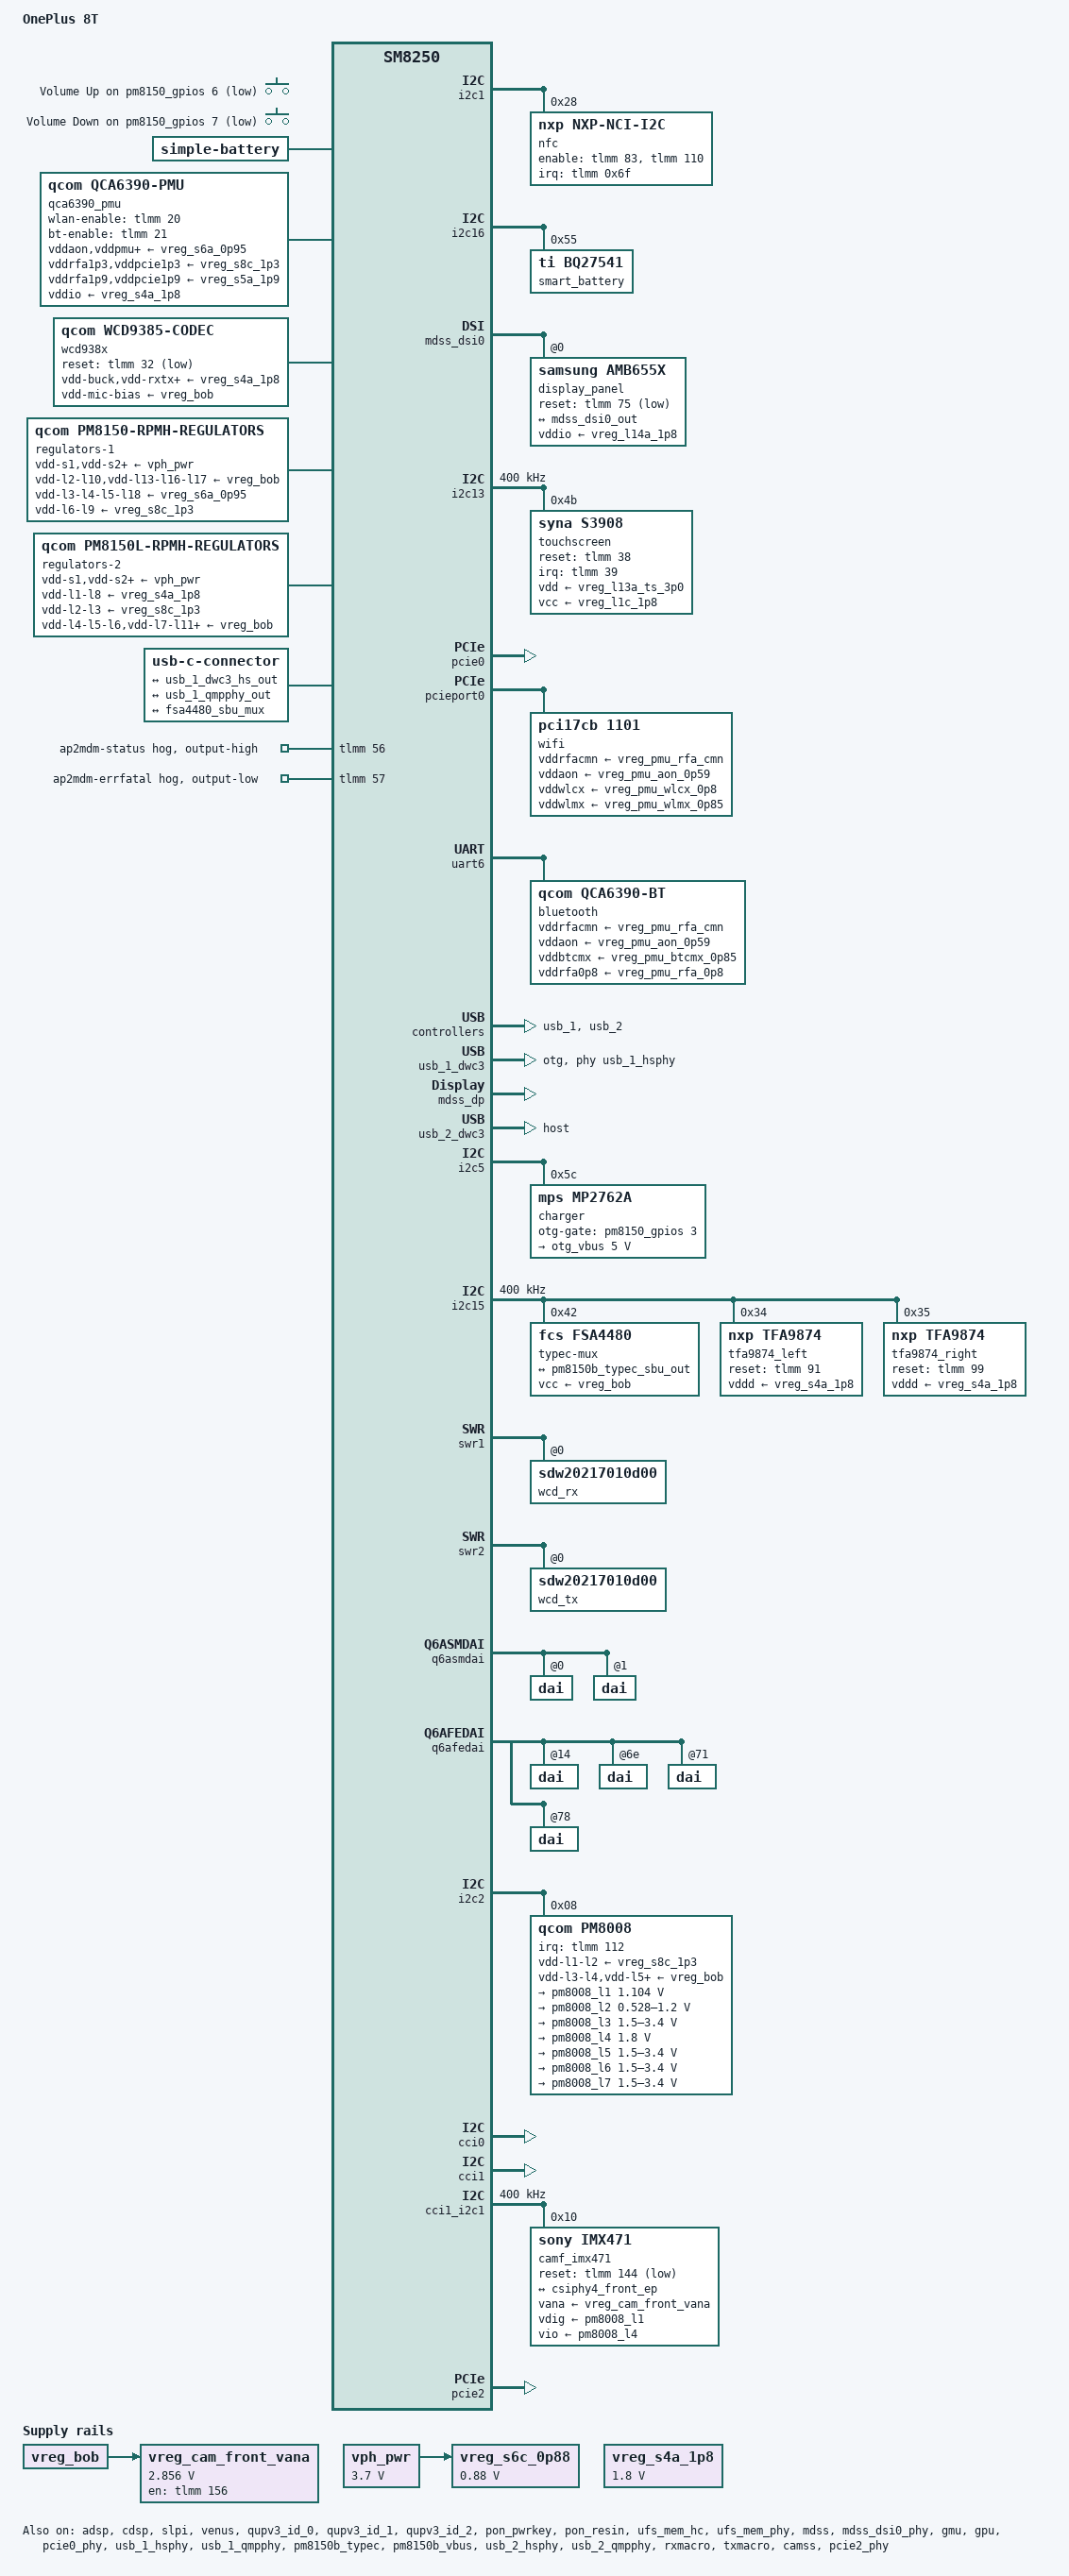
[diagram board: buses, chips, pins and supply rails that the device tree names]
// SPDX-License-Identifier: BSD-3-Clause
/*
 * OnePlus 8T (kebab / KB2003) — SM8250 + discrete SDX55 modem.
 *
 * Consolidated board description. This single file replaces the ~45
 * incremental device-tree patches produced during bring-up; see
 * docs/REFACTOR.md for the patch-to-section mapping and docs/REGRESSIONS.md
 * for what was intentionally dropped and how to put it back.
 *
 * Derived from arch/arm64/boot/dts/qcom/sm8250-oneplus-kebab.dts as shipped
 * in linux-postmarketos-qcom-sm8250 tag sm8250-7.2.0. Run
 * scripts/check-dts-drift.sh after a kernel bump to see what upstream
 * changed underneath this file.
 *
 * Copyright (c) 2022, The Linux Foundation. All rights reserved.
 * Copyright (c) 2024, Frieder Hannenheim
 * Copyright (c) 2026, kebab bring-up
 */

/dts-v1/;

#include <dt-bindings/arm/qcom,ids.h>
#include <dt-bindings/gpio/gpio.h>
#include <dt-bindings/media/video-interfaces.h>
#include <dt-bindings/phy/phy.h>
#include <dt-bindings/regulator/qcom,rpmh-regulator.h>
#include <dt-bindings/sound/qcom,q6afe.h>
#include <dt-bindings/sound/qcom,q6asm.h>
#include <dt-bindings/usb/pd.h>

#include "sm8250.dtsi"
#include "pm8150.dtsi"
#include "pm8150b.dtsi"
#include "pm8150l.dtsi"

/*
 * pm8009.dtsi is deliberately NOT included.
 *
 * The PMIC is declared by the vendor tree but is not populated on this
 * board: every SPMI register read to sid 0xa / 0xb fails with
 * "transaction failed (0x3)", and RPMh cmd-db has no smpf2 resource, so
 * its rpmh-regulator block ("regulators-0", qcom,pmic-id = "f") cannot
 * register either. Nothing on kebab consumes an f-series rail — the
 * QCA6390 PMU was moved onto vreg_s6a_0p95 for exactly this reason.
 *
 * Omitting the include is equivalent to, and cleaner than, instantiating
 * pmic@a / pmic@b and then disabling them.
 */

/*
 * Delete the upstream (sm8250.dtsi) reserved-memory mappings that differ on
 * this device; they are redefined below.
 */
/delete-node/ &removed_mem;
/delete-node/ &camera_mem;
/delete-node/ &wlan_mem;
/delete-node/ &ipa_fw_mem;
/delete-node/ &ipa_gsi_mem;
/delete-node/ &gpu_mem;
/delete-node/ &npu_mem;
/delete-node/ &video_mem;
/delete-node/ &cvp_mem;
/delete-node/ &cdsp_mem;
/delete-node/ &slpi_mem;
/delete-node/ &adsp_mem;
/delete-node/ &spss_mem;
/delete-node/ &cdsp_secure_heap;

/ {
	model = "OnePlus 8T";
	compatible = "oneplus,kebab", "qcom,sm8250";
	chassis-type = "handset";

	qcom,msm-id = <0x164 0x10000>, <0x164 0x20001>;
	qcom,board-id = <0x08 0x00>, <0x00 0x00>;

	aliases {
		serial0 = &uart6;
	};

	chosen {
		#address-cells = <2>;
		#size-cells = <2>;
		ranges;
		stdout-path = "framebuffer0";

		/*
		 * Disabled: msm DRM owns this memory once the real DSI panel
		 * comes up. Leaving simple-framebuffer enabled makes both
		 * drivers claim 0x9c000000 and produces "framebuffer is not in
		 * virtual address space" warnings.
		 */
		framebuffer0: framebuffer@9c000000 {
			compatible = "simple-framebuffer";
			reg = <0x0 0x9c000000 0x0 (1080 * 2376 * 4)>;
			width = <1080>;
			height = <2376>;
			stride = <(1080 * 4)>;
			format = "a8r8g8b8";
			status = "disabled";
		};
	};

	gpio_keys: gpio-keys {
		compatible = "gpio-keys";

		vol-up {
			label = "Volume Up";
			gpios = <&pm8150_gpios 6 GPIO_ACTIVE_LOW>;
			linux,code = <KEY_VOLUMEUP>;
			debounce-interval = <15>;
			linux,can-disable;
			gpio-key,wakeup;
		};

		vol-down {
			label = "Volume Down";
			gpios = <&pm8150_gpios 7 GPIO_ACTIVE_LOW>;
			linux,code = <KEY_VOLUMEDOWN>;
			debounce-interval = <15>;
			linux,can-disable;
			gpio-key,wakeup;
		};
	};

	reserved-memory {
		camera_mem: memory@8dc00000 {
			reg = <0x0 0x8dc00000 0x0 0x500000>;
			no-map;
		};

		wlan_mem: memory@8e100000 {
			reg = <0x0 0x8e100000 0x0 0x100000>;
			no-map;
		};

		ipa_fw_mem: memory@8e200000 {
			reg = <0x0 0x8e200000 0x0 0x10000>;
			no-map;
		};

		ipa_gsi_mem: memory@8e210000 {
			reg = <0x0 0x8e210000 0x0 0xa000>;
			no-map;
		};

		gpu_mem: memory@8e21a000 {
			reg = <0x0 0x8e21a000 0x0 0x2000>;
			no-map;
		};

		npu_mem: memory@8e300000 {
			reg = <0x0 0x8e300000 0x0 0x500000>;
			no-map;
		};

		video_mem: memory@8e800000 {
			reg = <0x0 0x8e800000 0x0 0x500000>;
			no-map;
		};

		cvp_mem: memory@8ed00000 {
			reg = <0x0 0x8ed00000 0x0 0x500000>;
			no-map;
		};

		cdsp_mem: memory@8f200000 {
			reg = <0x0 0x8f200000 0x0 0x1400000>;
			no-map;
		};

		slpi_mem: memory@90600000 {
			reg = <0x0 0x90600000 0x0 0x1500000>;
			no-map;
		};

		adsp_mem: memory@91b00000 {
			reg = <0x00 0x91b00000 0x00 0x2500000>;
			no-map;
		};

		spss_mem: memory@94000000 {
			reg = <0x0 0x94000000 0x0 0x100000>;
			no-map;
		};

		cdsp_secure_heap: memory@94100000 {
			reg = <0x0 0x94100000 0x0 0x4600000>;
			no-map;
		};

		cont_splash_mem: memory@9c000000 {
			reg = <0x0 0x9c000000 0x0 0x2300000>;
			no-map;
		};

		/*
		 * OPTIONAL — development aid, safe to delete.
		 *
		 * pstore/ramoops in a region the bootloader leaves alone, so a
		 * panic or a silent SoC reset survives the reboot and can be
		 * read back from /sys/fs/pstore. ECC is on because this region
		 * is not refresh-protected across the reset.
		 *
		 * Keeping this enabled is a deliberate choice for a board still
		 * under bring-up: several of the changes in this tree were
		 * diagnosed only because the previous boot's log survived.
		 */
		ramoops@b0000000 {
			compatible = "ramoops";
			reg = <0x00 0xb0000000 0x00 0x400000>;
			record-size = <0x40000>;
			console-size = <0x200000>;
			ecc-size = <16>;
			no-map;
		};
	};

	battery: battery {
		compatible = "simple-battery";

		charge-full-design-microamp-hours = <4410000>;
		energy-full-design-microwatt-hours = <17060000>;
		voltage-max-design-microvolt = <4350000>;
	};

	vph_pwr: vph-pwr-regulator {
		compatible = "regulator-fixed";
		regulator-name = "vph_pwr";
		regulator-min-microvolt = <3700000>;
		regulator-max-microvolt = <3700000>;
	};

	vreg_s6c_0p88: smpc6-regulator {
		compatible = "regulator-fixed";
		regulator-name = "vreg_s6c_0p88";
		regulator-min-microvolt = <880000>;
		regulator-max-microvolt = <880000>;
		regulator-always-on;
		vin-supply = <&vph_pwr>;
	};

	vreg_s4a_1p8: vreg-s4a-1p8 {
		compatible = "regulator-fixed";
		regulator-name = "vreg_s4a_1p8";
		regulator-min-microvolt = <1800000>;
		regulator-max-microvolt = <1800000>;
		regulator-always-on;
	};
};

/* ------------------------------------------------------------------------
 * RPMh regulators
 *
 * "regulators-0" (pm8009, qcom,pmic-id "f") is absent — see the note about
 * the pm8009.dtsi include above.
 * ------------------------------------------------------------------------ */

&apps_rsc {
	regulators-1 {
		compatible = "qcom,pm8150-rpmh-regulators";
		qcom,pmic-id = "a";

		vdd-s1-supply = <&vph_pwr>;
		vdd-s2-supply = <&vph_pwr>;
		vdd-s3-supply = <&vph_pwr>;
		vdd-s4-supply = <&vph_pwr>;
		vdd-s5-supply = <&vph_pwr>;
		vdd-s6-supply = <&vph_pwr>;
		vdd-s7-supply = <&vph_pwr>;
		vdd-s8-supply = <&vph_pwr>;
		vdd-s9-supply = <&vph_pwr>;
		vdd-s10-supply = <&vph_pwr>;
		vdd-l2-l10-supply = <&vreg_bob>;
		vdd-l3-l4-l5-l18-supply = <&vreg_s6a_0p95>;
		vdd-l6-l9-supply = <&vreg_s8c_1p3>;
		vdd-l7-l12-l14-l15-supply = <&vreg_s5a_1p9>;
		vdd-l13-l16-l17-supply = <&vreg_bob>;

		vreg_l2a_3p1: ldo2 {
			regulator-name = "vreg_l2a_3p1";
			regulator-min-microvolt = <3072000>;
			regulator-max-microvolt = <3072000>;
			regulator-initial-mode = <RPMH_REGULATOR_MODE_HPM>;
		};

		vreg_l3a_0p9: ldo3 {
			regulator-name = "vreg_l3a_0p9";
			regulator-min-microvolt = <928000>;
			regulator-max-microvolt = <932000>;
			regulator-initial-mode = <RPMH_REGULATOR_MODE_HPM>;
		};

		vreg_l5a_0p88: ldo5 {
			regulator-name = "vreg_l5a_0p88";
			regulator-min-microvolt = <880000>;
			regulator-max-microvolt = <880000>;
			regulator-initial-mode = <RPMH_REGULATOR_MODE_HPM>;
		};

		vreg_l6a_1p2: ldo6 {
			regulator-name = "vreg_l6a_1p2";
			regulator-min-microvolt = <1200000>;
			regulator-max-microvolt = <1200000>;
			regulator-initial-mode = <RPMH_REGULATOR_MODE_HPM>;
		};

		vreg_l7a_1p7: ldo7 {
			regulator-name = "vreg_l7a_1p7";
			regulator-min-microvolt = <1704000>;
			regulator-max-microvolt = <1800000>;
			regulator-initial-mode = <RPMH_REGULATOR_MODE_HPM>;
		};

		vreg_l9a_1p2: ldo9 {
			regulator-name = "vreg_l9a_1p2";
			regulator-min-microvolt = <1200000>;
			regulator-max-microvolt = <1200000>;
			regulator-initial-mode = <RPMH_REGULATOR_MODE_HPM>;
		};

		vreg_l10a_1p8: ldo10 {
			regulator-name = "vreg_l10a_1p8";
			regulator-min-microvolt = <1800000>;
			regulator-max-microvolt = <1800000>;
			regulator-initial-mode = <RPMH_REGULATOR_MODE_HPM>;
		};

		vreg_l12a_1p8: ldo12 {
			regulator-name = "vreg_l12a_1p8";
			regulator-min-microvolt = <1800000>;
			regulator-max-microvolt = <1800000>;
			regulator-initial-mode = <RPMH_REGULATOR_MODE_HPM>;
		};

		vreg_l13a_ts_3p0: ldo13 {
			regulator-name = "vreg_l13a_ts_3p0";
			regulator-min-microvolt = <3008000>;
			regulator-max-microvolt = <3008000>;
			regulator-initial-mode = <RPMH_REGULATOR_MODE_HPM>;
		};

		vreg_l14a_1p8: ldo14 {
			regulator-name = "vreg_l14a_1p8";
			regulator-min-microvolt = <1800000>;
			regulator-max-microvolt = <1880000>;
			regulator-initial-mode = <RPMH_REGULATOR_MODE_HPM>;
		};

		vreg_l15a_1p8: ldo15 {
			regulator-name = "vreg_l15a_1p8";
			regulator-min-microvolt = <1800000>;
			regulator-max-microvolt = <1800000>;
			regulator-initial-mode = <RPMH_REGULATOR_MODE_HPM>;
		};

		vreg_l16a_2p7: ldo16 {
			regulator-name = "vreg_l16a_2p7";
			regulator-min-microvolt = <2704000>;
			regulator-max-microvolt = <2960000>;
			regulator-initial-mode = <RPMH_REGULATOR_MODE_HPM>;
		};

		vreg_l17a_3p0: ldo17 {
			regulator-name = "vreg_l17a_3p0";
			regulator-min-microvolt = <2856000>;
			regulator-max-microvolt = <3008000>;
			regulator-initial-mode = <RPMH_REGULATOR_MODE_HPM>;
		};

		vreg_l18a_0p92: ldo18 {
			regulator-name = "vreg_l18a_0p92";
			regulator-min-microvolt = <800000>;
			regulator-max-microvolt = <912000>;
			regulator-initial-mode = <RPMH_REGULATOR_MODE_HPM>;
		};

		vreg_s5a_1p9: smps5 {
			regulator-name = "vreg_s5a_1p9";
			regulator-min-microvolt = <1904000>;
			regulator-max-microvolt = <2000000>;
			regulator-initial-mode = <RPMH_REGULATOR_MODE_HPM>;
		};

		vreg_s6a_0p95: smps6 {
			regulator-name = "vreg_s6a_0p95";
			regulator-min-microvolt = <920000>;
			regulator-max-microvolt = <1128000>;
			regulator-initial-mode = <RPMH_REGULATOR_MODE_HPM>;
		};
	};

	regulators-2 {
		compatible = "qcom,pm8150l-rpmh-regulators";
		qcom,pmic-id = "c";

		vdd-s1-supply = <&vph_pwr>;
		vdd-s2-supply = <&vph_pwr>;
		vdd-s3-supply = <&vph_pwr>;
		vdd-s4-supply = <&vph_pwr>;
		vdd-s5-supply = <&vph_pwr>;
		vdd-s6-supply = <&vph_pwr>;
		vdd-s7-supply = <&vph_pwr>;
		vdd-s8-supply = <&vph_pwr>;
		vdd-l1-l8-supply = <&vreg_s4a_1p8>;
		vdd-l2-l3-supply = <&vreg_s8c_1p3>;
		vdd-l4-l5-l6-supply = <&vreg_bob>;
		vdd-l7-l11-supply = <&vreg_bob>;
		vdd-l9-l10-supply = <&vreg_bob>;
		vdd-bob-supply = <&vph_pwr>;

		vreg_bob: bob {
			regulator-name = "vreg_bob";
			/*
			 * 3.3 V floor, not the 3008000 the other SM8250 boards
			 * use. BOB feeds the WCD9385 vdd-mic-bias input, and
			 * mainline wcd938x only bulk-enables its supplies —
			 * it never requests a voltage, so BOB parks at this
			 * minimum. The vendor configuration specifies more:
			 * OnePlus's kebab-oem.dtsi sets
			 * qcom,cdc-vdd-mic-bias-voltage = <3300000 3600000>
			 * and Qualcomm's kona-audio-overlay.dtsi uses
			 * <3296000 3296000>. Give the micbias generator the
			 * headroom the analogue mic design assumes.
			 */
			regulator-min-microvolt = <3300000>;
			regulator-max-microvolt = <4000000>;
			regulator-initial-mode = <RPMH_REGULATOR_MODE_AUTO>;
		};

		vreg_l1c_1p8: ldo1 {
			regulator-name = "vreg_l1c_1p8";
			regulator-min-microvolt = <1800000>;
			regulator-max-microvolt = <1800000>;
			regulator-initial-mode = <RPMH_REGULATOR_MODE_HPM>;
		};

		vreg_l2c_1p2: ldo2 {
			regulator-name = "vreg_l2c_1p2";
			regulator-min-microvolt = <1200000>;
			regulator-max-microvolt = <1200000>;
			regulator-initial-mode = <RPMH_REGULATOR_MODE_HPM>;
		};

		vreg_l3c_0p8: ldo3 {
			regulator-name = "vreg_l3c_0p8";
			regulator-min-microvolt = <800000>;
			regulator-max-microvolt = <800000>;
			regulator-initial-mode = <RPMH_REGULATOR_MODE_HPM>;
		};

		vreg_l4c_1p7: ldo4 {
			regulator-name = "vreg_l4c_1p7";
			regulator-min-microvolt = <1704000>;
			regulator-max-microvolt = <2928000>;
			regulator-initial-mode = <RPMH_REGULATOR_MODE_HPM>;
		};

		vreg_l5c_1p8: ldo5 {
			regulator-name = "vreg_l5c_1p8";
			regulator-min-microvolt = <1800000>;
			regulator-max-microvolt = <2928000>;
			regulator-initial-mode = <RPMH_REGULATOR_MODE_HPM>;
		};

		vreg_l6c_2p96: ldo6 {
			regulator-name = "vreg_l6c_2p96";
			regulator-min-microvolt = <1800000>;
			regulator-max-microvolt = <2960000>;
			regulator-initial-mode = <RPMH_REGULATOR_MODE_HPM>;
		};

		vreg_l7c_cam_vcm0_2p85: ldo7 {
			regulator-name = "vreg_l7c_cam_vcm0_2p85";
			regulator-min-microvolt = <2856000>;
			regulator-max-microvolt = <3104000>;
			regulator-initial-mode = <RPMH_REGULATOR_MODE_HPM>;
		};

		vreg_l8c_1p8: ldo8 {
			regulator-name = "vreg_l8c_1p8";
			regulator-min-microvolt = <1800000>;
			regulator-max-microvolt = <1800000>;
			regulator-initial-mode = <RPMH_REGULATOR_MODE_HPM>;
		};

		vreg_l9c_2p96: ldo9 {
			regulator-name = "vreg_l9c_2p96";
			regulator-min-microvolt = <2704000>;
			regulator-max-microvolt = <2960000>;
			regulator-initial-mode = <RPMH_REGULATOR_MODE_HPM>;
		};

		vreg_l10c_3p0: ldo10 {
			regulator-name = "vreg_l10c_3p0";
			regulator-min-microvolt = <3000000>;
			regulator-max-microvolt = <3000000>;
			regulator-initial-mode = <RPMH_REGULATOR_MODE_HPM>;
		};

		vreg_l11c_3p3: ldo11 {
			regulator-name = "vreg_l11c_3p3";
			regulator-min-microvolt = <3296000>;
			regulator-max-microvolt = <3296000>;
			regulator-initial-mode = <RPMH_REGULATOR_MODE_HPM>;
			regulator-always-on;
		};

		vreg_s8c_1p3: smps8 {
			regulator-name = "vreg_s8c_1p3";
			regulator-min-microvolt = <1352000>;
			regulator-max-microvolt = <1352000>;
			regulator-initial-mode = <RPMH_REGULATOR_MODE_HPM>;
		};
	};
};

/* ------------------------------------------------------------------------
 * Core SoC blocks
 * ------------------------------------------------------------------------ */

&adsp {
	firmware-name = "postmarketos/adsp.mbn";
	status = "okay";
};

&cdsp {
	firmware-name = "postmarketos/cdsp.mbn";
	status = "okay";
};

&slpi {
	firmware-name = "postmarketos/slpi.mbn";
	status = "okay";
};

&venus {
	firmware-name = "postmarketos/venus.mbn";
	status = "okay";
};

&gpi_dma0 {
	status = "okay";
};

&gpi_dma1 {
	status = "okay";
};

&gpi_dma2 {
	status = "okay";
};

&qupv3_id_0 {
	status = "okay";
};

&qupv3_id_1 {
	status = "okay";
};

&qupv3_id_2 {
	status = "okay";
};

&qup_spi4_cs_gpio {
	drive-strength = <6>;
	bias-disable;
};

&qup_spi4_data_clk {
	drive-strength = <6>;
	bias-disable;
};

&pon_pwrkey {
	status = "okay";
};

&pon_resin {
	linux,code = <KEY_VOLUMEDOWN>;
	status = "okay";
};

&ufs_mem_hc {
	vcc-supply = <&vreg_l17a_3p0>;
	vcc-max-microamp = <800000>;
	vccq-supply = <&vreg_l6a_1p2>;
	vccq-max-microamp = <800000>;
	vccq2-supply = <&vreg_s4a_1p8>;
	vccq2-max-microamp = <800000>;
	status = "okay";
};

&ufs_mem_phy {
	vdda-phy-supply = <&vreg_l5a_0p88>;
	vdda-pll-supply = <&vreg_l9a_1p2>;
	status = "okay";
};

/* NFC: NXP NCI. Needs pcie1 disabled so GPIO_83 is free — see the PCIe
 * section below. */
&i2c1 {
	status = "okay";

	nfc@28 {
		compatible = "nxp,nxp-nci-i2c";
		reg = <0x28>;

		interrupt-parent = <&tlmm>;
		interrupts = <0x6f IRQ_TYPE_LEVEL_HIGH>;

		enable-gpios = <&tlmm 83 GPIO_ACTIVE_HIGH>,
			       <&tlmm 110 GPIO_ACTIVE_HIGH>;
	};
};

&i2c16 {
	status = "okay";

	smart_battery: fuel-gauge@55 {
		compatible = "ti,bq27541";
		reg = <0x55>;
		monitored-battery = <&battery>;
	};
};

/* ------------------------------------------------------------------------
 * Display — DSI0 + Samsung AMB655X panel, Adreno 650
 *
 * The vendor-derived kebab dts carried "&dispcc { status = "disabled"; }".
 * dispcc is the display clock controller: with it disabled, mdss, the DPU,
 * the DSI controller and the DSI PHY can never resolve their clocks, so
 * none of them probe whatever their own status says. It is simply absent
 * here rather than re-enabled.
 * ------------------------------------------------------------------------ */

&mdss {
	status = "okay";
};

&mdss_dsi0 {
	vdda-supply = <&vreg_l9a_1p2>;
	status = "okay";

	display_panel: panel@0 {
		compatible = "samsung,amb655x";
		reg = <0>;

		vddio-supply = <&vreg_l14a_1p8>;
		reset-gpios = <&tlmm 75 GPIO_ACTIVE_LOW>;

		pinctrl-names = "default";
		pinctrl-0 = <&panel_reset_pins>, <&panel_vsync_pins>,
			    <&panel_vout_pins>;

		ports {
			#address-cells = <1>;
			#size-cells = <0>;

			port@0 {
				reg = <0>;

				panel_in_0: endpoint {
					remote-endpoint = <&mdss_dsi0_out>;
				};
			};
		};
	};
};

&mdss_dsi0_out {
	data-lanes = <0 1 2 3>;
	remote-endpoint = <&panel_in_0>;
};

&mdss_dsi0_phy {
	vdds-supply = <&vreg_l5a_0p88>;
	status = "okay";
};

&gmu {
	status = "okay";
};

/* Without this msm_dpu reports "no GPU device was found" and the desktop
 * falls back to llvmpipe. */
&gpu {
	status = "okay";
};

/* ------------------------------------------------------------------------
 * Touchscreen — Synaptics S3908
 *
 * The node inherited from the OnePlus 8 Pro declares a Samsung s6sy761 at
 * 0x48. The 8T has a Synaptics S3908 at 0x4b on the same bus; the whole
 * i2c13 node is written out here rather than patched, so no phantom client
 * is ever created.
 * ------------------------------------------------------------------------ */

&i2c13 {
	clock-frequency = <400000>;
	status = "okay";

	touchscreen@4b {
		compatible = "syna,s3908";
		reg = <0x4b>;

		interrupt-parent = <&tlmm>;
		interrupts = <39 IRQ_TYPE_LEVEL_LOW>;

		reset-gpios = <&tlmm 38 GPIO_ACTIVE_HIGH>;

		pinctrl-names = "default";
		pinctrl-0 = <&ts_int_active>;

		vdd-supply = <&vreg_l13a_ts_3p0>;
		vcc-supply = <&vreg_l1c_1p8>;
		vdd_volt = <3008000>;

		max-objects = <10>;
	};
};

/* ------------------------------------------------------------------------
 * Wi-Fi / Bluetooth — Qualcomm QCA6390 on PCIe0 + UART6
 *
 * The vendor-derived tree declared a "qcom,qca6390" node with
 * #power-domain-cells and had pcie0_phy and the bluetooth node consume it
 * as a power domain. No mainline driver binds that compatible, so the PHY
 * timed out (-110) and pcie0 never probed.
 *
 * Mainline drives this chip through drivers/power/sequencing/
 * pwrseq-qcom-wcn.c matching "qcom,qca6390-pmu". The PMU exposes ten named
 * regulators; the WLAN endpoint under the PCIe root port and the Bluetooth
 * serdev node consume those directly.
 *
 * NOTE ON THE BLUETOOTH ADDRESS. htnv20.bin ships the placeholder
 * 00:00:00:00:5A:AD, so hci0 comes up HCI_UNCONFIGURED ("DOWN RAW",
 * "Can't init device hci0: Not supported (95)"). This is deliberately NOT
 * papered over with a hard-coded local-bd-address here: one constant
 * baked into the devicetree is the same address on every kebab. The
 * address is assigned per device at boot from /etc/machine-id by
 * kebab-bluetooth-addr.service (see device/oneplus-kebab/). If that path
 * ever fails, docs/REGRESSIONS.md item BT-1 has the devicetree fallback.
 * ------------------------------------------------------------------------ */

/ {
	qca6390_pmu: qca6390-pmu {
		compatible = "qcom,qca6390-pmu";

		pinctrl-names = "default";
		pinctrl-0 = <&bt_en_active>, <&wlan_en_active>;

		vddaon-supply = <&vreg_s6a_0p95>;
		vddpmu-supply = <&vreg_s6a_0p95>;
		vddrfa0p95-supply = <&vreg_s6a_0p95>;
		vddrfa1p3-supply = <&vreg_s8c_1p3>;
		vddrfa1p9-supply = <&vreg_s5a_1p9>;
		vddpcie1p3-supply = <&vreg_s8c_1p3>;
		vddpcie1p9-supply = <&vreg_s5a_1p9>;
		vddio-supply = <&vreg_s4a_1p8>;

		wlan-enable-gpios = <&tlmm 20 GPIO_ACTIVE_HIGH>;
		bt-enable-gpios = <&tlmm 21 GPIO_ACTIVE_HIGH>;

		regulators {
			vreg_pmu_rfa_cmn: ldo0 {
				regulator-name = "vreg_pmu_rfa_cmn";
			};

			vreg_pmu_aon_0p59: ldo1 {
				regulator-name = "vreg_pmu_aon_0p59";
			};

			vreg_pmu_wlcx_0p8: ldo2 {
				regulator-name = "vreg_pmu_wlcx_0p8";
			};

			vreg_pmu_wlmx_0p85: ldo3 {
				regulator-name = "vreg_pmu_wlmx_0p85";
			};

			vreg_pmu_btcmx_0p85: ldo4 {
				regulator-name = "vreg_pmu_btcmx_0p85";
			};

			vreg_pmu_rfa_0p8: ldo5 {
				regulator-name = "vreg_pmu_rfa_0p8";
			};

			vreg_pmu_rfa_1p2: ldo6 {
				regulator-name = "vreg_pmu_rfa_1p2";
			};

			vreg_pmu_rfa_1p7: ldo7 {
				regulator-name = "vreg_pmu_rfa_1p7";
			};

			vreg_pmu_pcie_0p9: ldo8 {
				regulator-name = "vreg_pmu_pcie_0p9";
			};

			vreg_pmu_pcie_1p8: ldo9 {
				regulator-name = "vreg_pmu_pcie_1p8";
			};
		};
	};
};

&pcie0 {
	status = "okay";
};

&pcie0_phy {
	vdda-phy-supply = <&vreg_l5a_0p88>;
	vdda-pll-supply = <&vreg_l9a_1p2>;
	status = "okay";
};

&pcieport0 {
	wifi@0 {
		compatible = "pci17cb,1101";
		reg = <0x10000 0x0 0x0 0x0 0x0>;

		vddrfacmn-supply = <&vreg_pmu_rfa_cmn>;
		vddaon-supply = <&vreg_pmu_aon_0p59>;
		vddwlcx-supply = <&vreg_pmu_wlcx_0p8>;
		vddwlmx-supply = <&vreg_pmu_wlmx_0p85>;
		vddrfa0p8-supply = <&vreg_pmu_rfa_0p8>;
		vddrfa1p2-supply = <&vreg_pmu_rfa_1p2>;
		vddrfa1p7-supply = <&vreg_pmu_rfa_1p7>;
		vddpcie0p9-supply = <&vreg_pmu_pcie_0p9>;
		vddpcie1p8-supply = <&vreg_pmu_pcie_1p8>;
	};
};

&uart6 {
	status = "okay";

	bluetooth {
		compatible = "qcom,qca6390-bt";

		vddrfacmn-supply = <&vreg_pmu_rfa_cmn>;
		vddaon-supply = <&vreg_pmu_aon_0p59>;
		vddbtcmx-supply = <&vreg_pmu_btcmx_0p85>;
		vddrfa0p8-supply = <&vreg_pmu_rfa_0p8>;
		vddrfa1p2-supply = <&vreg_pmu_rfa_1p2>;
		vddrfa1p7-supply = <&vreg_pmu_rfa_1p7>;
	};
};

/*
 * pcie1 has no endpoint on this board — it reports "Device not found" —
 * but its pinctrl claims GPIO_83, which the NFC controller needs for its
 * enable line:
 *
 *   sm8250-pinctrl f100000.pinctrl: pin GPIO_83 already requested by
 *       1c08000.pcie; cannot claim for f100000.pinctrl:629
 *   nxp-nci_i2c 1-0028: NFC: Failed to get EN gpio
 */
&pcie1 {
	status = "disabled";
};

&pcie1_phy {
	status = "disabled";
};

/* ------------------------------------------------------------------------
 * USB-C — dual-role USB 3.1, DisplayPort altmode, VBUS source
 *
 * DP and Type-C have to land together. The msm DP driver resolves its
 * downstream bridge with devm_drm_of_get_bridge() on port@1, and the chain
 * is
 *
 *   mdss_dp -> usb_1_qmpphy        (phy-qcom-qmp-combo registers a
 *                                   *passthrough* aux bridge, which itself
 *                                   requires a downstream bridge)
 *           -> pm8150b_typec connector
 *                                  (qcom_pmic_typec adds the HPD bridge
 *                                   that TERMINATES the chain)
 *
 * With no Type-C connector node nothing terminates the chain, the aux
 * bridge fails -ENODEV, mdss_dp defers forever, and because mdss_dp is an
 * msm-drm component the whole display — DSI panel included — never binds.
 *
 * The FSA4480 SBU/orientation switch is on &i2c15 (0x884000), not &i2c1
 * (0x984000, the NFC bus). The stock OxygenOS tree says
 * "fsa4480 = /soc/i2c@884000/fsa4480@42" and
 * sm8250-xiaomi-pipa-common.dtsi independently agrees. On the wrong bus it
 * never probes, typec_mux_get()/typec_switch_get() defer forever, and the
 * display goes down with DP.
 * ------------------------------------------------------------------------ */

&usb_1 {
	/* USB 2.0 + 3.0. qcom,select-utmi-as-pipe-clk is deliberately absent:
	 * the pipe clock is parented to the QMP combo PHY, which is up. */
	status = "okay";
};

&usb_1_dwc3 {
	/*
	 * OTG is required, not optional: dp_altmode_probe() rejects anything
	 * but TYPEC_HOST. Pin assignment D carries 2 DP lanes + USB3 at the
	 * same time; never force pin assignment C, which takes a dock's USB3
	 * lanes away.
	 */
	dr_mode = "otg";
	usb-role-switch;
	phys = <&usb_1_hsphy>, <&usb_1_qmpphy QMP_USB43DP_USB3_PHY>;
	phy-names = "usb2-phy", "usb3-phy";
};

&usb_1_dwc3_hs_out {
	remote-endpoint = <&pm8150b_hs_in>;
};

&usb_1_hsphy {
	vdda-pll-supply = <&vreg_l5a_0p88>;
	vdda18-supply = <&vreg_l12a_1p8>;
	vdda33-supply = <&vreg_l2a_3p1>;
	status = "okay";
};

&usb_1_qmpphy {
	vdda-phy-supply = <&vreg_l9a_1p2>;
	vdda-pll-supply = <&vreg_l18a_0p92>;
	status = "okay";
};

&usb_1_qmpphy_out {
	remote-endpoint = <&pm8150b_typec_mux_in>;
};

&usb_1_qmpphy_dp_in {
	remote-endpoint = <&mdss_dp_out>;
};

&mdss_dp {
	status = "okay";
};

&mdss_dp_out {
	/*
	 * Four lanes. DP altmode negotiates pin assignment C with 4-lane
	 * adapters and D with docks; dwc3 gives up the SuperSpeed lanes in
	 * the former case. With data-lanes = <0 1> the controller trains only
	 * two lanes — ~8.6 Gbps after 8b/10b at HBR2 — which cannot carry
	 * 3840x2160@60 (~12.5 Gbps at 24 bpp): link training succeeds and the
	 * monitor shows a black screen.
	 */
	data-lanes = <0 1 2 3>;
	remote-endpoint = <&usb_1_qmpphy_dp_in>;
};

&pm8150b_typec {
	status = "okay";

	vdd-pdphy-supply = <&vreg_l2a_3p1>;

	/*
	 * VBUS comes from the MP2762A, not the pm8150b boost. kebab is a 2S
	 * device (battery 8.6 V) and the pm8150b OTG boost exists to lift a
	 * 1S cell to 5 V, so it can never source this port — every attach
	 * logged "vbus vsafe5v fail". The MP2762A path was verified on
	 * hardware: vSafe5V held for 60 s with otg_fail=0 / oc_hiccup=0 and a
	 * bus-powered keyboard enumerated as HID.
	 */
	vdd-vbus-supply = <&otg_vbus>;

	connector {
		compatible = "usb-c-connector";

		op-sink-microwatt = <10000000>;
		power-role = "dual";
		data-role = "dual";
		try-power-role = "sink";
		self-powered;

		/*
		 * 1.5 A source, matching the MP2762A OTG current limit (see
		 * otg_vbus below and stock op_mp2650.c). Advertising 3 A that
		 * the boost cannot deliver browns the rail out on a sink that
		 * takes us at our word. Raise the regulator's
		 * regulator-max-microamp and this PDO together, never one
		 * alone.
		 */
		source-pdos = <PDO_FIXED(5000, 1500,
				PDO_FIXED_DUAL_ROLE |
				PDO_FIXED_USB_COMM |
				PDO_FIXED_DATA_SWAP)>;

		sink-pdos = <PDO_FIXED(5000, 3000,
				PDO_FIXED_DUAL_ROLE |
				PDO_FIXED_USB_COMM |
				PDO_FIXED_DATA_SWAP)>;

		altmodes {
			displayport {
				svid = /bits/ 16 <0xff01>;
				vdo = <0x00001c46>;
			};
		};

		ports {
			#address-cells = <1>;
			#size-cells = <0>;

			port@0 {
				reg = <0>;

				pm8150b_hs_in: endpoint {
					remote-endpoint = <&usb_1_dwc3_hs_out>;
				};
			};

			port@1 {
				reg = <1>;

				pm8150b_typec_mux_in: endpoint {
					remote-endpoint = <&usb_1_qmpphy_out>;
				};
			};

			port@2 {
				reg = <2>;

				pm8150b_typec_sbu_out: endpoint {
					remote-endpoint = <&fsa4480_sbu_mux>;
				};
			};
		};
	};
};

/*
 * Left enabled but unused: pm8150b_vbus is not wired as anyone's
 * vbus-supply (see vdd-vbus-supply above). Keeping the node enabled makes
 * reverting to it a one-line change if the MP2762A path ever regresses.
 */
&pm8150b_vbus {
	regulator-min-microamp = <500000>;
	regulator-max-microamp = <3000000>;
	status = "okay";
};

&usb_2 {
	status = "okay";
};

&usb_2_dwc3 {
	dr_mode = "host";
};

&usb_2_hsphy {
	vdda-pll-supply = <&vreg_l5a_0p88>;
	vdda33-supply = <&vreg_l2a_3p1>;
	vdda18-supply = <&vreg_l12a_1p8>;
	status = "okay";
};

&usb_2_qmpphy {
	vdda-phy-supply = <&vreg_l9a_1p2>;
	vdda-pll-supply = <&vreg_l18a_0p92>;
	status = "okay";
};

/* ------------------------------------------------------------------------
 * Charging — MP2762A OTG boost
 *
 * ti,bq25980 came in when the kebab dts was copied from the OnePlus 8 Pro.
 * It never initialises ("Cannot initialize the chip") and is not present
 * here; battery reporting comes from the bq27541 fuel gauge on i2c16.
 * ------------------------------------------------------------------------ */

&i2c5 {
	status = "okay";

	charger@5c {
		compatible = "mps,mp2762a";
		reg = <0x5c>;

		/*
		 * PM8150 GPIO3 gates the boost output. No pinctrl state: the
		 * "normal"/power-source=1 state tried during bring-up was
		 * rejected by the pm8150 pinctrl driver and gpiod drives the
		 * pin correctly without it.
		 */
		otg-gate-gpios = <&pm8150_gpios 3 GPIO_ACTIVE_HIGH>;

		otg_vbus: otg-vbus {
			regulator-name = "otg-vbus";
			regulator-min-microvolt = <5000000>;
			regulator-max-microvolt = <5000000>;

			/*
			 * OTG boost current limit, programmed into REG07[3:0]
			 * in 250 mA steps. 1.5 A matches stock op_mp2650.c and
			 * the source PDO advertised above.
			 */
			regulator-min-microamp = <1500000>;
			regulator-max-microamp = <1500000>;

			/*
			 * The boost is slow: vSafe5V was measured arriving
			 * between 550 ms and ~1.1 s after REG08[5] is written,
			 * well outside the Type-C tSrcTurnOn budget of 275 ms.
			 * Telling the regulator core how long this rail takes
			 * makes regulator_enable() return only once VBUS is
			 * really up, so the generic Type-C port driver's
			 * 250 ms vSafe5V poll succeeds on the first attach
			 * instead of warning and relying on TCPM's retry.
			 *
			 * An earlier attempt used 300 ms here, which is below
			 * the measured range and did not help; that is why a
			 * driver-side timeout bump looked necessary at the
			 * time. See docs/REGRESSIONS.md, item USB-1.
			 */
			regulator-enable-ramp-delay = <1200000>;
		};
	};
};

&i2c15 {
	clock-frequency = <400000>;
	status = "okay";

	/* SBU / orientation switch, also used for analogue USB-C audio */
	typec-mux@42 {
		compatible = "fcs,fsa4480";
		reg = <0x42>;

		vcc-supply = <&vreg_bob>;
		mode-switch;
		orientation-switch;

		port {
			fsa4480_sbu_mux: endpoint {
				remote-endpoint = <&pm8150b_typec_sbu_out>;
			};
		};
	};
};

/* ------------------------------------------------------------------------
 * Audio
 *
 *   WCD9385 codec              SoundWire (swr1 RX / swr2 TX)
 *   2x NXP TFA9874 speaker amp tertiary MI2S, TLMM gpio133/135/137
 *   3x digital microphone      LPI gpio6..9, via the VA macro
 *
 * sm8250-mtp.dts is not a usable reference for this: it declares no
 * &q6asmdai or &q6afedai children, so a card built from it fails with
 * "MultiMedia1: error getting cpu dai name".
 * ------------------------------------------------------------------------ */

/ {
	wcd938x: audio-codec {
		compatible = "qcom,wcd9385-codec";

		/* Stock OxygenOS wcd938x_reset_active drives gpio32. */
		reset-gpios = <&tlmm 32 GPIO_ACTIVE_LOW>;

		vdd-buck-supply = <&vreg_s4a_1p8>;
		vdd-rxtx-supply = <&vreg_s4a_1p8>;
		vdd-io-supply = <&vreg_s4a_1p8>;
		vdd-mic-bias-supply = <&vreg_bob>;

		qcom,micbias1-microvolt = <1800000>;
		qcom,micbias2-microvolt = <1800000>;
		qcom,micbias3-microvolt = <1800000>;
		qcom,micbias4-microvolt = <1800000>;

		qcom,mbhc-buttons-vthreshold-microvolt = <75000 150000 237000
							 500000 500000 500000
							 500000 500000>;
		qcom,mbhc-headset-vthreshold-microvolt = <1700000>;
		qcom,mbhc-headphone-vthreshold-microvolt = <50000>;

		qcom,rx-device = <&wcd_rx>;
		qcom,tx-device = <&wcd_tx>;

		#sound-dai-cells = <1>;
	};
};

/*
 * The two speaker amplifiers share the USB-C mux's i2c bus (i2c15), which
 * is brought up in the USB-C section above.
 */
&i2c15 {
	/*
	 * NXP TFA9874 smart speaker amplifiers (TFA2 family), left and right.
	 * Verified against the stock OxygenOS DTB: this bus, 0x34 and 0x35,
	 * reset on tlmm 91 / 99 active-high, both fed from pm8150_s4 (1.8 V,
	 * vreg_s4a_1p8 here). The stock nodes carry reset-gpio only, so there
	 * are no shutdown GPIOs to model.
	 */
	tfa9874_left: speaker-amp@34 {
		compatible = "nxp,tfa9874";
		reg = <0x34>;

		vddd-supply = <&vreg_s4a_1p8>;
		reset-gpios = <&tlmm 91 GPIO_ACTIVE_HIGH>;

		nxp,tfa-channel = <0>;

		/*
		 * Both amps are separate ASoC components on one card, and
		 * the driver's DAPM widgets are named per-instance
		 * ("POWER", "SBSL", "OUT"). Without a prefix the two sets
		 * collide, snd_soc_dapm_add_route() cannot tell them apart
		 * ("sink widget OUT overwritten"), and the second amp's
		 * supply widget lands outside any powered path -- it never
		 * leaves power-down, so only one transducer plays.
		 */
		sound-name-prefix = "Left";

		#sound-dai-cells = <0>;
	};

	tfa9874_right: speaker-amp@35 {
		compatible = "nxp,tfa9874";
		reg = <0x35>;

		vddd-supply = <&vreg_s4a_1p8>;
		reset-gpios = <&tlmm 99 GPIO_ACTIVE_HIGH>;

		nxp,tfa-channel = <1>;

		/* See the prefix comment on the left amp above. */
		sound-name-prefix = "Right";

		#sound-dai-cells = <0>;
	};
};

&swr1 {
	status = "okay";

	wcd_rx: wcd9385-rx@0,4 {
		compatible = "sdw20217010d00";
		reg = <0 4>;
		qcom,rx-port-mapping = <1 2 3 4 5>;
	};
};

&swr2 {
	status = "okay";

	wcd_tx: wcd9385-tx@0,3 {
		compatible = "sdw20217010d00";
		reg = <0 3>;
		qcom,tx-port-mapping = <2 3 4 5>;
	};
};

&rxmacro {
	status = "okay";
};

&txmacro {
	status = "okay";
};

/*
 * VA macro drives the digital microphones. kebab's handset mic is a DMIC on
 * the LPI pins, not an analogue capsule on AMIC1: stock mixer_paths.xml maps
 * "handset-mic" to "dmic2", i.e. TX DMIC MUX2 = DMIC1 on TX_CDC_DMA_TX_3.
 *
 * The DMIC pin states live here and NOT on txmacro: txmacro already owns
 * gpio0-2 through tx_swr_active, and a second consumer claiming gpio6/gpio7
 * there risks -EBUSY at probe, which would take the SoundWire TX bus and the
 * speaker path down with it.
 */
&vamacro {
	pinctrl-names = "default";
	pinctrl-0 = <&dmic01_active>, <&dmic23_active>;
	vdd-micb-supply = <&vreg_s4a_1p8>;
	/*
	 * 2.4 MHz. The driver derives the divider as VA_MACRO_MCLK_FREQ
	 * (9.6 MHz) / rate, so 600 kHz — the value some other SM8250 boards
	 * use — is DIV_16 and only 12.5x oversampling at 48 kHz. That leaves
	 * un-decimated sigma-delta noise in the audio band: measured as a
	 * floor rising from -120 dBFS at 1 kHz to -88 dBFS at 16 kHz, with a
	 * broadband floor of -48 dBFS at unity gain. 2.4 MHz is DIV_4, 50x
	 * oversampling, and matches stock's qcom,tx-dmic-sample-rate in
	 * kona-audio-overlay.dtsi.
	 */
	qcom,dmic-sample-rate = <2400000>;
};

&sound {
	compatible = "qcom,sm8250-sndcard";
	model = "OnePlus 8T";

	/* Tertiary MI2S pads carry the two TFA9874 amps. Without this the
	 * pins never leave their default function, no BCLK/WS reaches the
	 * amps, and they sit at CLKS=0 forever even though DAPM powers them
	 * (PWDN 1->0, AMPE 0->1 confirmed over i2c). Same attachment point as
	 * qrb5165-rb5, the upstream sm8250 board that drives TERTIARY_MI2S_RX. */
	pinctrl-names = "default";
	pinctrl-0 = <&tert_mi2s_active>;

	audio-routing =
		"IN1_HPHL", "HPHL_OUT",
		"IN2_HPHR", "HPHR_OUT",
		"AMIC1", "MIC BIAS1",
		"AMIC2", "MIC BIAS2",
		"AMIC3", "MIC BIAS3",
		"AMIC4", "MIC BIAS3",
		"AMIC5", "MIC BIAS4",
		"TX SWR_ADC0", "ADC1_OUTPUT",
		"TX SWR_ADC1", "ADC2_OUTPUT",
		"TX SWR_ADC2", "ADC3_OUTPUT",
		"TX SWR_ADC3", "ADC4_OUTPUT",
		"VA DMIC0", "MIC BIAS1",
		"VA DMIC1", "MIC BIAS1";

	mm1-dai-link {
		link-name = "MultiMedia1";

		cpu {
			sound-dai = <&q6asmdai MSM_FRONTEND_DAI_MULTIMEDIA1>;
		};
	};

	mm2-dai-link {
		link-name = "MultiMedia2";

		cpu {
			sound-dai = <&q6asmdai MSM_FRONTEND_DAI_MULTIMEDIA2>;
		};
	};

	wcd-playback-dai-link {
		link-name = "WCD Playback";

		cpu {
			sound-dai = <&q6afedai RX_CODEC_DMA_RX_0>;
		};

		platform {
			sound-dai = <&q6routing>;
		};

		codec {
			sound-dai = <&wcd938x 0>, <&swr1 0>, <&rxmacro 0>;
		};
	};

	wcd-capture-dai-link {
		link-name = "WCD Capture";

		cpu {
			sound-dai = <&q6afedai TX_CODEC_DMA_TX_3>;
		};

		platform {
			sound-dai = <&q6routing>;
		};

		codec {
			sound-dai = <&wcd938x 1>, <&swr2 0>, <&txmacro 0>;
		};
	};

	va-dai-link {
		link-name = "VA Capture";

		cpu {
			sound-dai = <&q6afedai VA_CODEC_DMA_TX_0>;
		};

		platform {
			sound-dai = <&q6routing>;
		};

		codec {
			sound-dai = <&vamacro 0>;
		};
	};

	/*
	 * Tertiary MI2S carries both TFA9874 amps. They sit on the same frame
	 * and each picks its own channel, so this is one multi-codec link
	 * rather than two links.
	 *
	 * Deliberately no card-level audio-routing entry for the speakers:
	 * the speaker DAPM path lives inside the codec driver, and a wrong
	 * card-level route name fails the whole card's probe, which would
	 * take working headphone audio down with it.
	 */
	tert-mi2s-dai-link {
		link-name = "Tertiary MI2S Playback";

		cpu {
			sound-dai = <&q6afedai TERTIARY_MI2S_RX>;
		};

		platform {
			sound-dai = <&q6routing>;
		};

		codec {
			sound-dai = <&tfa9874_left>, <&tfa9874_right>;
		};
	};
};

/*
 * q6asmdai and q6afedai in sm8250.dtsi are empty containers. Their drivers
 * register DAIs by walking child nodes, so every DAI the card references has
 * to be declared. The unit addresses are the numeric DAI ids from
 * dt-bindings/sound/qcom,q6asm.h and qcom,q6afe.h.
 */
&q6asmdai {
	dai@0 {
		reg = <MSM_FRONTEND_DAI_MULTIMEDIA1>;
	};

	dai@1 {
		reg = <MSM_FRONTEND_DAI_MULTIMEDIA2>;
	};
};

&q6afedai {
	/* TERTIARY_MI2S_RX = 20. Stock kebab-oem.dtsi sets
	 * qcom,msm-mi2s-rx-lines = <2>, i.e. MSM_MI2S_SD1, so playback to the
	 * amps leaves on SD1 (gpio137) — not SD0 (gpio134), which is the
	 * amps' VI-sense return and unused on this DSP-bypass path. */
	dai@14 {
		reg = <TERTIARY_MI2S_RX>;
		qcom,sd-lines = <1>;
	};

	dai@6e {
		reg = <VA_CODEC_DMA_TX_0>;
	};

	dai@71 {
		reg = <RX_CODEC_DMA_RX_0>;
	};

	dai@78 {
		reg = <TX_CODEC_DMA_TX_3>;
	};
};

/*
 * kebab is a 3-mic phone, so the DMIC2/DMIC3 pair needs its pins muxed too.
 * sm8250.dtsi only defines dmic01-active-state, so this mirrors it for
 * gpio8 / gpio9. Per pinctrl-sm8250-lpass-lpi.c dmic2_clk is gpio8 and
 * dmic2_data is gpio9; their only alternate function is i2s1_data, which
 * nothing on this board uses (the TFA amps are on tertiary MI2S, TLMM
 * gpio133-137, not LPI), so there is no mux conflict.
 */
&lpass_tlmm {
	dmic23_active: dmic23-active-state {
		clk-pins {
			pins = "gpio8";
			function = "dmic2_clk";
			drive-strength = <8>;
			output-high;
		};

		data-pins {
			pins = "gpio9";
			function = "dmic2_data";
			drive-strength = <8>;
		};
	};
};

/* ------------------------------------------------------------------------
 * Camera — PM8008 camera PMIC, CAMSS, front IMX471
 *
 * Six independent problems were stacked here during bring-up and several of
 * them corrupted the evidence for the others. The comments below record the
 * ground truth for each, because every one of them is the kind of thing that
 * looks like a dead sensor.
 *
 * Sensor map recovered from the vendor tree (only the front camera has a
 * mainline driver today):
 *
 *   IMX586   wide/main   CCI0 master 0   CSIPHY 0
 *   IMX481   ultrawide   CCI0 master 1   CSIPHY 1
 *   GC02M1B  mono        CCI0 master 1   CSIPHY 2
 *   GC5035   macro       CCI1 master 0   CSIPHY 3
 *   IMX471   front       CCI1 master 1   CSIPHY 4
 * ------------------------------------------------------------------------ */

&i2c2 {
	status = "okay";

	pm8008: pmic@8 {
		compatible = "qcom,pm8008";
		reg = <0x8>;

		interrupt-parent = <&tlmm>;
		interrupts = <112 IRQ_TYPE_EDGE_RISING>;

		pinctrl-names = "default";
		pinctrl-0 = <&pm8008_active>, <&pm8008_interrupt>;

		vdd-l1-l2-supply = <&vreg_s8c_1p3>;
		vdd-l3-l4-supply = <&vreg_bob>;
		vdd-l5-supply = <&vreg_bob>;
		vdd-l6-supply = <&vreg_bob>;
		vdd-l7-supply = <&vreg_bob>;

		gpio-controller;
		#gpio-cells = <2>;
		gpio-ranges = <&pm8008 0 0 2>;

		interrupt-controller;
		#interrupt-cells = <2>;

		#thermal-sensor-cells = <0>;

		regulators {
			pm8008_l1: ldo1 {
				regulator-name = "pm8008_l1";
				/*
				 * cam_vdig. The vendor tree gives this rail as
				 * a single point, rgltr-min == rgltr-max ==
				 * 1100000 uV, not a range.
				 *
				 * 1100000 is NOT settable: the pm8008 LDO
				 * steps in 8 mV, so the core rounds min up to
				 * 1104000 and max down to 1096000, gets
				 * min > max and refuses:
				 *   pm8008_l1: unsupportable voltage
				 *              constraints 1104000-1096000uV
				 *   qcom-pm8008-regulator: failed to register
				 *              regulator ldo1: -22
				 * ldo1 failing aborts the whole driver probe,
				 * so L1 AND L4 both vanish — taking cam_vio
				 * down with cam_vdig and unpowering the entire
				 * camera bus, EEPROMs included. Use the
				 * nearest representable step.
				 */
				regulator-min-microvolt = <1104000>;
				regulator-max-microvolt = <1104000>;
			};

			pm8008_l2: ldo2 {
				regulator-name = "pm8008_l2";
				regulator-min-microvolt = <528000>;
				regulator-max-microvolt = <1200000>;
			};

			pm8008_l3: ldo3 {
				regulator-name = "pm8008_l3";
				regulator-min-microvolt = <1500000>;
				regulator-max-microvolt = <3400000>;
			};

			pm8008_l4: ldo4 {
				regulator-name = "pm8008_l4";
				/* cam_vio, nominally shared with the rear
				 * sensors. Not always-on: the imx471 driver
				 * owns it through vio-supply and sequences it. */
				regulator-min-microvolt = <1800000>;
				regulator-max-microvolt = <1800000>;
			};

			pm8008_l5: ldo5 {
				regulator-name = "pm8008_l5";
				regulator-min-microvolt = <1500000>;
				regulator-max-microvolt = <3400000>;
			};

			pm8008_l6: ldo6 {
				regulator-name = "pm8008_l6";
				regulator-min-microvolt = <1500000>;
				regulator-max-microvolt = <3400000>;
			};

			pm8008_l7: ldo7 {
				regulator-name = "pm8008_l7";
				regulator-min-microvolt = <1500000>;
				regulator-max-microvolt = <3400000>;
			};
		};
	};
};

/ {
	/*
	 * Front camera VANA load switch. The vendor overlay gates VANA through
	 * a dedicated GPIO ("CAM_front_VANA", raw pin 0x9c = 156) in addition
	 * to the shared vreg_bob rail, so it is modelled as a fixed regulator
	 * and the imx471 driver's own "vana" supply toggles it.
	 *
	 * ACTIVE HIGH. The vendor pinctrl for this pin drives gpio156
	 * "output-low; bias-pull-down;" in the *suspend* / camera-off state,
	 * so off == low and on == high. Declared GPIO_ACTIVE_LOW, gpiolib
	 * parks the pin high (VANA on) while the regulator is nominally
	 * disabled and drives it low (VANA off) exactly when the driver
	 * enables the supply — i.e. the analog rail is cut for the duration of
	 * every chip-id read:
	 *   imx471 24-0010: Error reading reg 0x0016: -6
	 *   imx471 24-0010: error -ENXIO: failed to read chip id
	 */
	vreg_cam_front_vana: regulator-cam-front-vana {
		compatible = "regulator-fixed";
		regulator-name = "vreg_cam_front_vana";
		regulator-min-microvolt = <2856000>;
		regulator-max-microvolt = <2856000>;
		vin-supply = <&vreg_bob>;
		gpio = <&tlmm 156 GPIO_ACTIVE_HIGH>;
		enable-active-high;
	};
};

&camss {
	/*
	 * CSIPHY analog supplies. Without these camss logs
	 *   supply vdda-phy not found, using dummy regulator
	 * once per CSIPHY and the PHY analog domain is never powered.
	 * A dummy regulator lets every ioctl succeed and the media graph link
	 * up while no CSI-2 data ever arrives — sensor identified, pipeline
	 * configured, STREAMON accepted, zero frames, no error.
	 * vreg_l5a_0p88 / vreg_l9a_1p2 are the standard SM8250 PHY analog +
	 * PLL pairing; both already feed the UFS PHY on this board.
	 */
	vdda-phy-supply = <&vreg_l5a_0p88>;
	vdda-pll-supply = <&vreg_l9a_1p2>;

	status = "okay";

	ports {
		port@4 {
			reg = <4>;

			/*
			 * CSIPHY-side lane numbering is 0-based and
			 * clock-lanes is mandatory — qcom,sm8250-camss.yaml
			 * lists both under "required".
			 *
			 * csiphy_lanes_enable() builds CTRL5 as BIT(pos * 2).
			 * With the sensor's 1-based <1 2 3 4> that is
			 * BIT(2,4,6,8) = 0x154 instead of BIT(0,2,4,6) = 0x55:
			 * physical lane 0 left disabled and nonexistent lane
			 * slots enabled, so the PHY never locks. Every ioctl
			 * still succeeds and DQBUF blocks forever with no
			 * error and no CSIPHY interrupt.
			 *
			 * The sensor endpoint below keeps <1 2 3 4>: that side
			 * is the standard 1-based CSI-2 convention and
			 * imx471_check_hwcfg() requires exactly 4 data lanes.
			 */
			csiphy4_front_ep: endpoint {
				clock-lanes = <7>;
				data-lanes = <0 1 2 3>;
				bus-type = <MEDIA_BUS_TYPE_CSI2_DPHY>;
				remote-endpoint = <&camf_imx471_ep>;
			};
		};
	};
};

&cci0 {
	status = "okay";
};

&cci1 {
	/*
	 * qcom,sm8250-cci is CCI v2 hardware, whose SCL timing table assumes a
	 * 37.5 MHz CCI clock. sm8250.dtsi never sets assigned-clock-rates for
	 * CAM_CC_CCI_1_CLK, so it rests at 19.2 MHz and every requested bus
	 * rate comes out at roughly half. Mirrors the upstream sm8650 fix
	 * ("arm64: dts: qcom: sm8650: Assign CCI clock rates to 37.5MHz").
	 */
	assigned-clocks = <&camcc CAM_CC_CCI_1_CLK>;
	assigned-clock-rates = <37500000>;

	status = "okay";
};

/*
 * The front IMX471 is on CCI1 master 1, not master 0. The vendor tree says
 * so twice, for the sensor and for its own EEPROM:
 *
 *   eeprom_front_0: qcom,eeprom@2   cci-master = <1>   Front: IMX471
 *   qcom,cam-sensor@2               cci-master = <1>   Front: IMX471
 *   eeprom_rear_2:  qcom,eeprom@3   cci-master = <0>   Micro: GC5035
 *   qcom,cam-sensor@3               cci-master = <0>   Micro: GC5035
 *
 * A live scan agrees: i2c-23 (master 0) answers at 0x50/0x58, i2c-24
 * (master 1) at 0x10, 0x54 and 0x5c. The 0x50/0x58 EEPROM cited for two days
 * as proof that "the bus is alive so the sensor must be dead" belongs to the
 * GC5035 macro camera on a bus the IMX471 was never on.
 */
&cci1_i2c1 {
	/*
	 * Fast mode, not the 1 MHz Fm+ that sm8250.dtsi defaults every CCI
	 * child bus to. Sony IMX-family sensors are specified for 400 kHz; the
	 * 24C64-style module EEPROMs are Fm+ parts, which is why they kept
	 * ACKing at 1 MHz while the sensor never did.
	 */
	clock-frequency = <400000>;

	/*
	 * Slave address 0x10, not the 0x1a family default. IMX parts commonly
	 * strap between the two, and a powered scan on this bus found 0x10
	 * (sensor) plus 0x54/0x5c (the front module's own EEPROM).
	 */
	camf_imx471: camera@10 {
		compatible = "sony,imx471";
		reg = <0x10>;

		/*
		 * Vendor power-up order is VANA -> VDIG -> VIO -> MCLK ->
		 * RESET, recovered from the stock sensor-module descriptor.
		 * The driver enables these in the order of its own supply
		 * table, not the order they appear here.
		 */
		vana-supply = <&vreg_cam_front_vana>;
		vdig-supply = <&pm8008_l1>;
		vio-supply = <&pm8008_l4>;

		clocks = <&camcc CAM_CC_MCLK4_CLK>;
		assigned-clocks = <&camcc CAM_CC_MCLK4_CLK>;
		assigned-clock-rates = <19200000>;

		reset-gpios = <&tlmm 144 GPIO_ACTIVE_LOW>;

		pinctrl-names = "default";
		pinctrl-0 = <&cam_mclk4_default>;

		orientation = <0>;

		port {
			camf_imx471_ep: endpoint {
				data-lanes = <1 2 3 4>;
				link-frequencies = /bits/ 64 <200000000>;
				remote-endpoint = <&csiphy4_front_ep>;
			};
		};
	};
};

/* ------------------------------------------------------------------------
 * External modem — Snapdragon X55 (SDX55) on PCIe2
 *
 * The SM8250 has no integrated modem; this phone pairs it with a discrete
 * SDX55 that appears as PCI 17cb:0306 subsystem 17cb:010c. None of the usual
 * mpss / remoteproc / rmtfs work applies, and sm8250.dtsi correctly has no
 * modem node. Host-side boot is handled by the MHI Sahara loader; see
 * docs/MODEM.md.
 * ------------------------------------------------------------------------ */

&pcie2 {
	/*
	 * Route the SDX55's 32 MSI vectors through the GICv3 MBI path. With
	 * the DesignWare internal MSI receiver the endpoint's writes land in
	 * its own SMMU domain and fault at IOVA 0x64100000:
	 *
	 *   arm-smmu 15000000.iommu: Unhandled context fault: fsr=0x402,
	 *       iova=0x64100000, fsynr=0x610011, cbfrsynra=0x1d01, cb=12
	 *
	 * OxygenOS uses GIC SPI 832..863 with a SETSPI doorbell at
	 * 0x17a10040; GIC MBI ranges use absolute INTIDs, so the matching
	 * range is 864..895. iommu-map is untouched and no global IOMMU
	 * bypass is involved.
	 */
	msi-parent = <&intc>;
	status = "okay";
};

&pcie2_phy {
	vdda-phy-supply = <&vreg_l5a_0p88>;
	vdda-pll-supply = <&vreg_l9a_1p2>;
	status = "okay";
};

&intc {
	msi-controller;
	mbi-ranges = <864 32>;
	mbi-alias = <0x0 0x17a10000>;
};

/*
 * ESOC sideband liveness signalling for the SDX55.
 *
 * Stock OxygenOS drives four GPIOs between the AP and the modem via
 * Qualcomm's ESOC framework (qcom,mdm0 / "qcom,ext-sdx55m"), which mainline
 * does not have:
 *
 *   ap2mdm-status   gpio56   AP tells the modem it is alive
 *   ap2mdm-errfatal gpio57   AP tells the modem it has crashed
 *   mdm2ap-status   gpio3    modem tells the AP it is alive
 *   mdm2ap-errfatal gpio1    modem tells the AP it has crashed
 *
 * Only the two AP-to-modem lines are driven, hogged to their "AP is up and
 * healthy" levels. Porting drivers/esoc itself was tried and abandoned:
 * ESOC_BOOT_DONE is a no-op toward the modem (it only calls
 * esoc_clink_evt_notify(ESOC_RUN_STATE), which is AP-internal), kebab's
 * qcom,mdm0 node wires no wake/vddmin lines, and esoc.h depends on the
 * downstream SSR stack that mainline replaced with remoteproc.
 */
&tlmm {
	ap2mdm-status-hog {
		gpio-hog;
		gpios = <56 GPIO_ACTIVE_HIGH>;
		output-high;
		line-name = "ap2mdm-status";
	};

	ap2mdm-errfatal-hog {
		gpio-hog;
		gpios = <57 GPIO_ACTIVE_HIGH>;
		output-low;
		line-name = "ap2mdm-errfatal";
	};
};

/* ------------------------------------------------------------------------
 * Pin configuration
 * ------------------------------------------------------------------------ */

&pm8150_gpios {
	vol_up_n: vol-up-n-state {
		pins = "gpio6";
		function = "normal";
		power-source = <1>;
		input-enable;
		bias-pull-up;
	};

	vol_down_n: vol-down-n-state {
		pins = "gpio7";
		function = "normal";
		power-source = <1>;
		input-enable;
		bias-pull-up;
	};
};

&tlmm {
	gpio-reserved-ranges = <28 4>, <40 4>;

	/* Wi-Fi / Bluetooth enable lines, consumed by the QCA6390 PMU. */
	bt_en_active: bt-default-state {
		bt-en {
			pins = "gpio21";
			function = "gpio";
			drive-strength = <16>;
			output-low;
			bias-pull-up;
		};
	};

	wlan_en_active: wlan-default-state {
		wlan-en {
			pins = "gpio20";
			function = "gpio";
			drive-strength = <16>;
			output-low;
			bias-pull-up;
		};
	};

	/* Touchscreen interrupt (gpio39) and reset (gpio38). */
	ts_int_active: ts-int-active-state {
		pins = "gpio38", "gpio39";
		function = "gpio";
		drive-strength = <2>;
		bias-pull-up;
	};

	/* Display panel. */
	panel_reset_pins: panel-reset-state {
		pins = "gpio75";
		function = "gpio";
		drive-strength = <8>;
		bias-disable;
	};

	panel_vsync_pins: panel-vsync-state {
		pins = "gpio66";
		function = "mdp_vsync";
		drive-strength = <16>;
		bias-pull-down;
	};

	panel_vout_pins: panel-vout-state {
		pins = "gpio24";
		function = "gpio";
		drive-strength = <16>;
		output-high;
	};

	/*
	 * Tertiary MI2S to the TFA9874 amps. Pins and mux functions are from
	 * the stock OxygenOS DTB: gpio133 = mi2s2_sck, gpio135 = mi2s2_ws,
	 * gpio137 = mi2s2_data1.
	 */
	tert_mi2s_active: tert-mi2s-active-state {
		sck-pins {
			pins = "gpio133";
			function = "mi2s2_sck";
			drive-strength = <8>;
			bias-disable;
		};

		ws-pins {
			pins = "gpio135";
			function = "mi2s2_ws";
			drive-strength = <8>;
			bias-disable;
		};

		data1-pins {
			pins = "gpio137";
			function = "mi2s2_data1";
			drive-strength = <8>;
			bias-disable;
		};
	};

	/*
	 * PM8008 camera PMIC chip-enable. Per the vendor overlay, gpio93 must
	 * be driven output-high or the chip never responds to register access
	 * even though the i2c client still enumerates. Without it
	 * pm8008_probe()'s devm_regmap_add_irq_chip_fwnode() fails writing the
	 * MISC peripheral's INT_EN_CLR register (0x916) with -ENXIO, aborts
	 * before devm_mfd_add_devices(), and none of L1..L7 — including
	 * cam_vdig — are ever registered.
	 */
	pm8008_active: pm8008-active-state {
		pins = "gpio93";
		function = "gpio";
		drive-strength = <2>;
		output-high;
		bias-pull-up;
	};

	pm8008_interrupt: pm8008-interrupt-state {
		pins = "gpio112";
		function = "gpio";
		bias-disable;
		input-enable;
	};

	/*
	 * MCLK4 for the front camera. sm8250.dtsi stops at cam_mclk3; this
	 * state is defined here rather than patched into the SoC dtsi.
	 */
	cam_mclk4_default: cam-mclk4-default-state {
		pins = "gpio98";
		function = "cam_mclk";
		drive-strength = <4>;
		bias-disable;
	};
};
